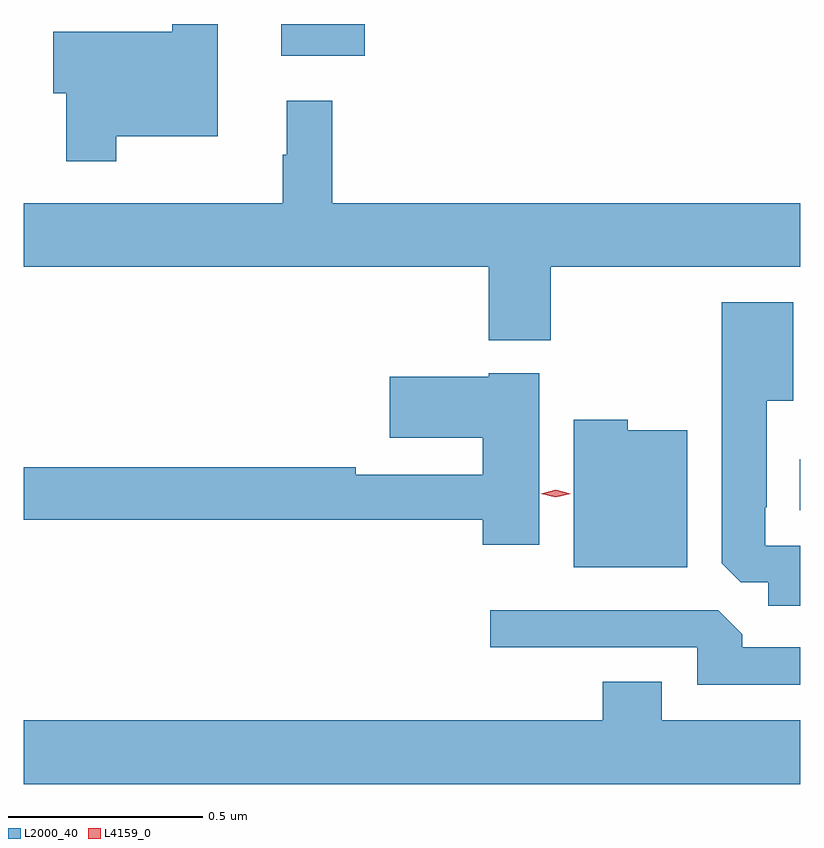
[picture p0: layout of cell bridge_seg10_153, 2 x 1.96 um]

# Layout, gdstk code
import gdstk
lib = gdstk.Library(unit=1e-6, precision=1e-09)
def R(c, l, rs):  # rectangles x0, y0, x1, y1
    for r in rs: c.add(gdstk.rectangle(r[:2], r[2:], *l))
def P(c, l, *ps):  # polygons
    for p in ps: c.add(gdstk.Polygon(p, *l))
L2000_40 = (2000, 40)
L4159_0 = (4159, 0)

bridge_seg10_153 = lib.new_cell('bridge_seg10_153')
R(bridge_seg10_153, L2000_40, [(315.794,1302.353,315.796,1302.484), (314.459,1303.523,314.674,1303.605)])
P(bridge_seg10_153, L2000_40, [(314.035,1303.316),(314.296,1303.316),(314.296,1303.605),(314.179,1303.605),(314.179,1303.585),(313.872,1303.585),(313.872,1303.427),(313.906,1303.427),(313.906,1303.251),(314.035,1303.251)],
  [(315.153,1302.98),(315.796,1302.98),(315.796,1303.144),(314.591,1303.144),(314.591,1303.408),(314.474,1303.408),(314.474,1303.268),(314.463,1303.268),(314.463,1303.144),(313.796,1303.144),(313.796,1302.98),(314.993,1302.98),(314.993,1302.791),(315.153,1302.791)],
  [(315.796,1302.261),(315.705,1302.261),(315.705,1302.361),(315.709,1302.361),(315.709,1302.635),(315.778,1302.635),(315.778,1302.889),(315.593,1302.889),(315.593,1302.217),(315.642,1302.168),(315.713,1302.168),(315.713,1302.107),(315.796,1302.107)],
  [(315.124,1302.706),(314.994,1302.706),(314.994,1302.697),(314.739,1302.697),(314.739,1302.539),(314.978,1302.539),(314.978,1302.444),(314.651,1302.444),(314.651,1302.464),(313.796,1302.464),(313.796,1302.328),(314.978,1302.328),(314.978,1302.264),(315.124,1302.264)],
  [(315.505,1302.559),(315.351,1302.559),(315.351,1302.586),(315.212,1302.586),(315.212,1302.206),(315.505,1302.206)],
  [(315.796,1302),(315.647,1302),(315.647,1302.034),(315.585,1302.096),(314.997,1302.096),(314.997,1302),(315.531,1302),(315.531,1301.904),(315.796,1301.904)],
  [(315.796,1301.812),(315.439,1301.812),(315.439,1301.911),(315.287,1301.911),(315.287,1301.812),(313.796,1301.812),(313.796,1301.648),(315.796,1301.648)])
P(bridge_seg10_153, L4159_0, [(315.166,1302.386),(315.128,1302.396),(315.128,1302.396),(315.128,1302.396),(315.166,1302.406),(315.205,1302.396),(315.205,1302.396),(315.205,1302.396)])

lib.write_gds('bridge_seg10_153.gds')
